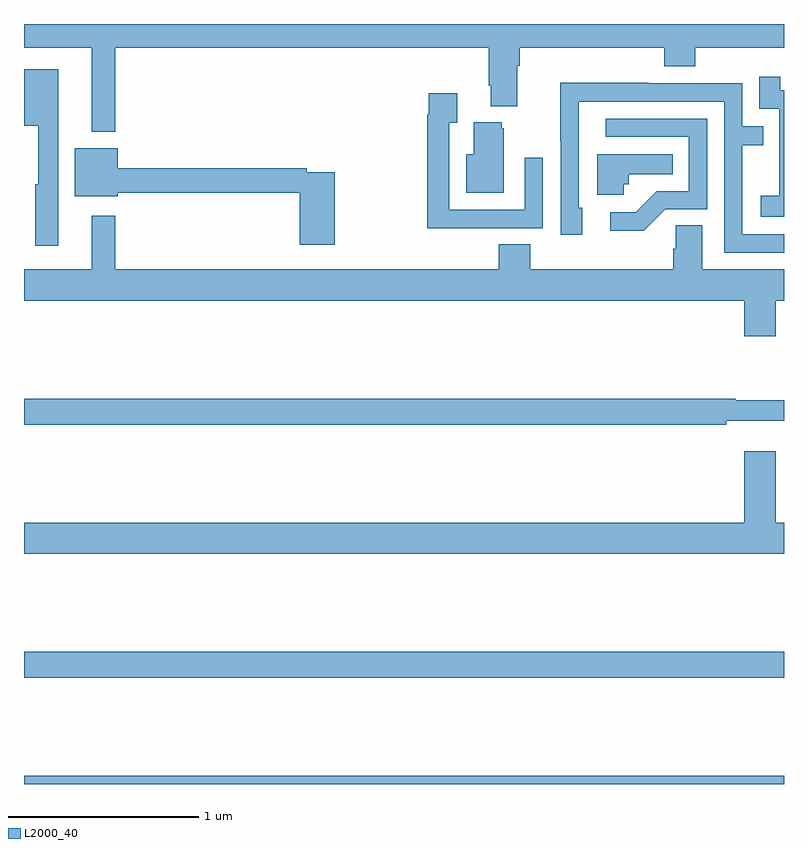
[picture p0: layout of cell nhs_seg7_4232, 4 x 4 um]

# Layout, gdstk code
import gdstk
lib = gdstk.Library(unit=1e-6, precision=1e-09)
def R(c, l, rs):  # rectangles x0, y0, x1, y1
    for r in rs: c.add(gdstk.rectangle(r[:2], r[2:], *l))
def P(c, l, *ps):  # polygons
    for p in ps: c.add(gdstk.Polygon(p, *l))
L2000_40 = (2000, 40)

nhs_seg7_4232 = lib.new_cell('nhs_seg7_4232')
R(nhs_seg7_4232, L2000_40, [(377,1070,381,1070.044), (377,1070.56,381,1070.696)])
P(nhs_seg7_4232, L2000_40, [(377.479,1073.876),(379.445,1073.876),(379.445,1073.674),(379.457,1073.674),(379.457,1073.567),(379.597,1073.567),(379.597,1073.78),(379.61,1073.78),(379.61,1073.876),(380.369,1073.876),(380.369,1073.777),(380.534,1073.777),(380.534,1073.876),(381,1073.876),(381,1074),(377,1074),(377,1073.876),(377.357,1073.876),(377.357,1073.432),(377.479,1073.432)],
  [(377.179,1073.761),(377,1073.761),(377,1073.465),(377.075,1073.465),(377.075,1073.157),(377.058,1073.157),(377.058,1072.833),(377.179,1072.833)],
  [(381,1073.652),(380.98,1073.652),(380.98,1073.722),(380.871,1073.722),(380.871,1073.553),(380.976,1073.553),(380.976,1073.324),(380.975,1073.324),(380.975,1073.095),(380.877,1073.095),(380.877,1072.985),(381,1072.985)],
  [(381,1072.893),(380.781,1072.893),(380.781,1073.362),(380.891,1073.362),(380.891,1073.463),(380.781,1073.463),(380.781,1073.688),(380.285,1073.688),(380.285,1073.69),(379.822,1073.69),(379.822,1073.383),(379.824,1073.383),(379.824,1072.89),(379.939,1072.89),(379.939,1073.034),(379.92,1073.034),(379.92,1073.371),(379.921,1073.371),(379.921,1073.592),(380.685,1073.592),(380.685,1072.797),(381,1072.797)],
  [(379.415,1072.926),(379.731,1072.926),(379.731,1073.296),(379.635,1073.296),(379.635,1073.022),(379.239,1073.022),(379.239,1073.479),(379.279,1073.479),(379.279,1073.635),(379.131,1073.635),(379.131,1073.522),(379.123,1073.522),(379.123,1072.925),(379.415,1072.925)],
  [(380.376,1073.025),(380.595,1073.025),(380.595,1073.502),(380.061,1073.502),(380.061,1073.406),(380.499,1073.406),(380.499,1073.121),(380.33,1073.121),(380.219,1073.01),(380.085,1073.01),(380.085,1072.913),(380.263,1072.913)],
  [(379.525,1073.451),(379.514,1073.451),(379.514,1073.482),(379.367,1073.482),(379.367,1073.314),(379.328,1073.314),(379.328,1073.111),(379.525,1073.111)],
  [(378.635,1073.22),(378.488,1073.22),(378.488,1073.24),(377.494,1073.24),(377.494,1073.347),(377.267,1073.347),(377.267,1073.093),(377.494,1073.093),(377.494,1073.112),(378.452,1073.112),(378.452,1072.839),(378.635,1072.839)],
  [(380.157,1073.157),(380.184,1073.157),(380.184,1073.21),(380.414,1073.21),(380.414,1073.314),(380.018,1073.314),(380.018,1073.102),(380.157,1073.102)],
  [(380.956,1072.544),(381,1072.544),(381,1072.708),(380.569,1072.708),(380.569,1072.94),(380.43,1072.94),(380.43,1072.817),(380.417,1072.817),(380.417,1072.708),(379.664,1072.708),(379.664,1072.841),(379.499,1072.841),(379.499,1072.708),(377.479,1072.708),(377.479,1072.99),(377.357,1072.99),(377.357,1072.708),(377,1072.708),(377,1072.544),(380.792,1072.544),(380.792,1072.356),(380.956,1072.356)],
  [(380.696,1071.911),(381,1071.911),(381,1072.021),(380.746,1072.021),(380.746,1072.028),(377,1072.028),(377,1071.892),(380.696,1071.892)],
  [(381,1071.376),(380.956,1071.376),(380.956,1071.751),(380.792,1071.751),(380.792,1071.376),(377,1071.376),(377,1071.212),(381,1071.212)])

lib.write_gds('nhs_seg7_4232.gds')
